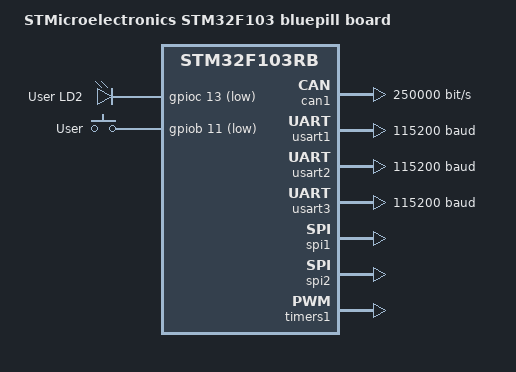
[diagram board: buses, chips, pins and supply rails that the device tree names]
/*
 * Copyright (c) 2017 Linaro Limited
 *
 * SPDX-License-Identifier: Apache-2.0
 */

/dts-v1/;
#include <st/stm32f103Xb.dtsi>

/ {
	model = "STMicroelectronics STM32F103 bluepill board";
	compatible = "st,bluepill", "st,stm32f103rb";

	chosen {
		zephyr,console = &usart2;
		zephyr,sram = &sram0;
		zephyr,flash = &flash0;
	};

	leds {
		compatible = "gpio-leds";
		blue_led: led@0 {
			gpios = <&gpioc 13 GPIO_INT_ACTIVE_LOW>;
			label = "User LD2";
		};
	};

	gpio_keys {
		compatible = "gpio-keys";
		user_button: button@0 {
			label = "User";
			gpios = <&gpiob 11 GPIO_INT_ACTIVE_LOW>;
		};
	};

	aliases {
		led0 = &blue_led;
		sw0 = &user_button;
	};

	can1: can@40006400 {
		compatible = "st,stm32-can";
		#address-cells = <1>;
		#size-cells = <0>;
		reg = <0x40006400 0x400>;
		interrupts = <30 0>;
		clocks = <&rcc STM32_CLOCK_BUS_APB1 0x02000000>;
		status = "disabled";
		label = "CAN_1";
		bus-speed = <250000>;
		sjw = <1>;
		prop_seg_phase_seg1 = <5>;
		phase_seg2 = <6>;
	};

};

&can1 {
	status = "ok";
};

&usart1 {
	current-speed = <115200>;
	pinctrl-0 = <&usart1_pins_a>;
	pinctrl-names = "default";
};

&usart2 {
	current-speed = <115200>;
	pinctrl-0 = <&usart2_pins_a>;
	pinctrl-names = "default";
	status = "ok";
};

&usart3 {
	current-speed = <115200>;
	pinctrl-0 = <&usart3_pins_a>;
	pinctrl-names = "default";
};

&spi1 {
      status = "ok";
};

&spi2 {
      status = "ok";
};

&timers1 {
	status = "ok";

	pwm {
		status = "ok";
	};
};
